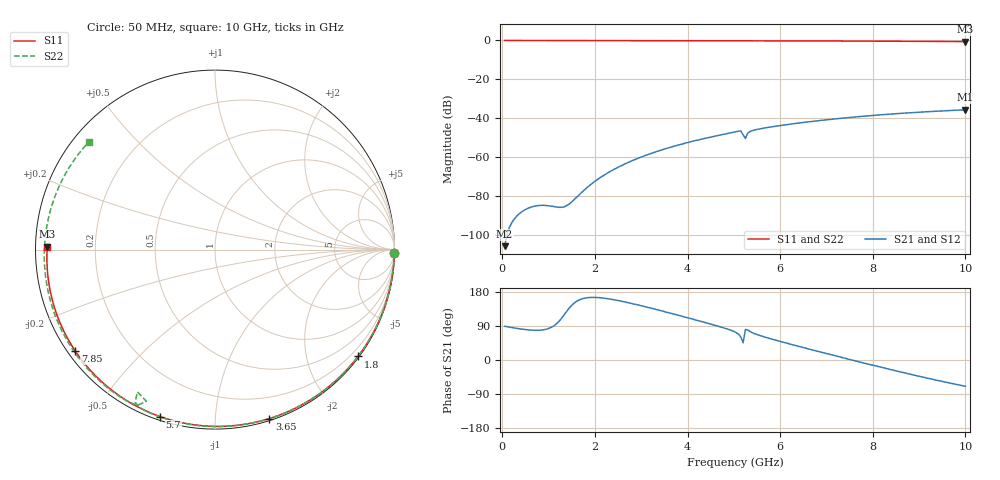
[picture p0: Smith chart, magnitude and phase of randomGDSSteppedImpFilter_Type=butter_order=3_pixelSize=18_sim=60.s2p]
! freq	dB(S11)	phase(S11)	dB(S12)	phase(S12)
!  dB(S21)	phase(S21)	dB(S22)	phase(S22)
!S-par simulation data
#  GHz  S  DB  R 50
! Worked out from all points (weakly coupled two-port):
!   200 points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, 50 MHz to 10 GHz, reference 50 ohm
!   highest |S21| = -35.71 dB at 10 GHz (marker M1); lowest = -106.0 dB at 50 MHz (marker M2)
!   lowest |S11| = -0.6 dB at 10 GHz (marker M3), VSWR 29.53, Z = 1.69 + j0.452 ohm
!   |S11| at or under -10 dB: nowhere
!   |S22| runs from -0.9 to 0.0 dB; largest |S21 - S12| = 0
!   S11 on the Smith chart (normalised r, x): 50 MHz: open; 1.8 GHz: 0.03, -3.01; 3.65 GHz: 0.02, -1.37; 5.7 GHz: 0.02, -0.72; 7.85 GHz: 0.02, -0.33; 10 GHz: 0.03, +0.01
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0.05  -0.00 -1.1  -105.95 88.9  -105.95 88.9  -0.00 -1.2
0.8  -0.02 -16.5  -84.99 78.5  -84.99 78.5  -0.02 -19.4
1.6  -0.04 -32.8  -80.87 154.4  -80.87 154.4  -0.05 -38.5
1.75  -0.05 -35.8  -77.47 162.3  -77.47 162.3  -0.05 -42.0
1.8  -0.05 -36.8  -76.40 163.7  -76.40 163.7  -0.05 -43.2
2.1  -0.05 -42.7  -70.88 164.4  -70.88 164.4  -0.06 -50.1
2.45  -0.06 -49.5  -65.91 158.1  -65.91 158.1  -0.07 -58.1
3.4  -0.09 -67.6  -56.69 130.9  -56.69 130.9  -0.10 -79.0
3.65  -0.10 -72.2  -54.87 123.0  -54.87 123.0  -0.11 -84.4
4.4  -0.12 -85.8  -50.30 98.2  -50.30 98.2  -0.14 -100.2
5.05  -0.15 -97.1  -46.99 72.4  -46.99 72.4  -0.21 -114.4
5.15  -0.15 -98.9  -46.63 61.0  -46.63 61.0  -0.36 -117.6
5.2  -0.16 -99.7  -48.53 45.4  -48.53 45.4  -0.89 -118.6
5.25  -0.16 -100.6  -50.47 80.7  -50.47 80.7  -0.65 -114.4
5.3  -0.16 -101.5  -47.73 79.2  -47.73 79.2  -0.32 -116.2
5.35  -0.16 -102.3  -46.88 75.1  -46.88 75.1  -0.25 -117.8
5.7  -0.18 -108.3  -44.93 59.4  -44.93 59.4  -0.21 -125.8
6.7  -0.24 -125.0  -41.67 26.5  -41.67 26.5  -0.28 -146.0
7.85  -0.34 -144.0  -38.93 -9.2  -38.93 -9.2  -0.39 -169.6
8.35  -0.39 -152.3  -37.99 -24.2  -37.99 -24.2  -0.44 179.7
9.2  -0.48 -166.8  -36.68 -48.5  -36.68 -48.5  -0.55 160.1
10  -0.59 179.0  -35.71 -69.4  -35.71 -69.4  -0.68 139.6
